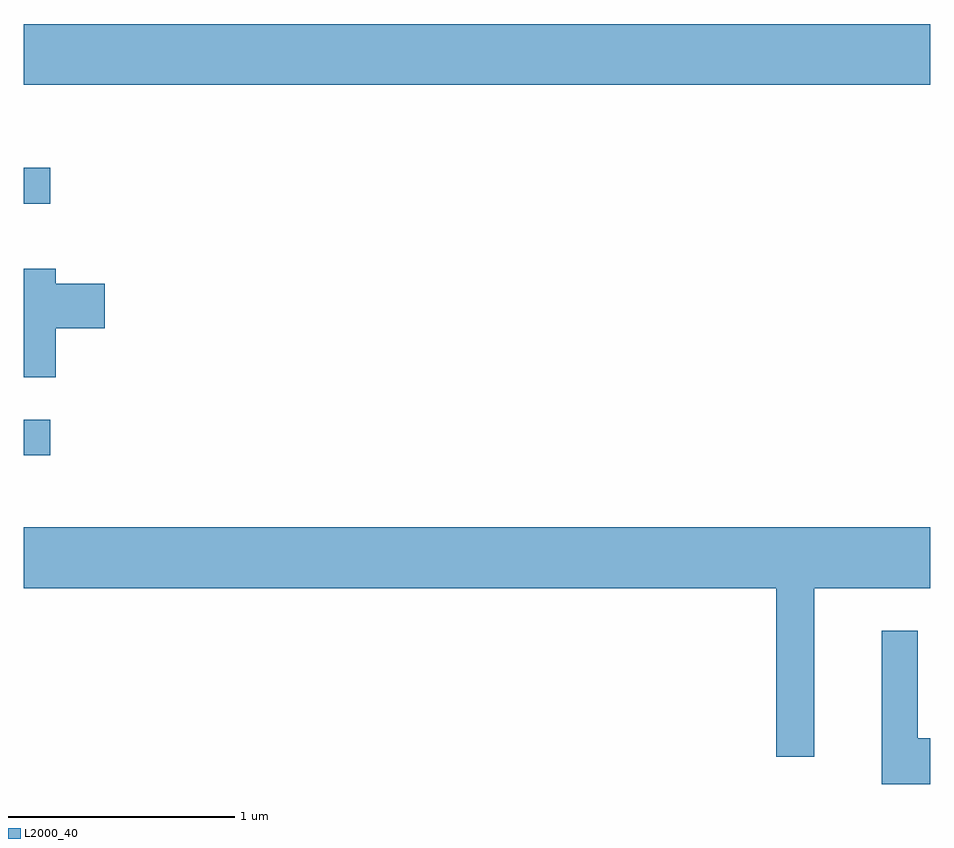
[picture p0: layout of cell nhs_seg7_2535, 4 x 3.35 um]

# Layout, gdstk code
import gdstk
lib = gdstk.Library(unit=1e-6, precision=1e-09)
def R(c, l, rs):  # rectangles x0, y0, x1, y1
    for r in rs: c.add(gdstk.rectangle(r[:2], r[2:], *l))
def P(c, l, *ps):  # polygons
    for p in ps: c.add(gdstk.Polygon(p, *l))
L2000_40 = (2000, 40)

nhs_seg7_2535 = lib.new_cell('nhs_seg7_2535')
R(nhs_seg7_2535, L2000_40, [(261.611,1803.701,261.728,1803.859), (261.611,1804.811,261.728,1804.969), (261.611,1805.336,265.611,1805.604)])
P(nhs_seg7_2535, L2000_40, [(261.754,1804.261),(261.969,1804.261),(261.969,1804.459),(261.754,1804.459),(261.754,1804.524),(261.611,1804.524),(261.611,1804.046),(261.754,1804.046)],
  [(265.099,1803.116),(265.611,1803.116),(265.611,1803.384),(261.611,1803.384),(261.611,1803.116),(264.931,1803.116),(264.931,1802.373),(265.099,1802.373)],
  [(265.611,1802.454),(265.554,1802.454),(265.554,1802.928),(265.396,1802.928),(265.396,1802.252),(265.611,1802.252)])

lib.write_gds('nhs_seg7_2535.gds')
